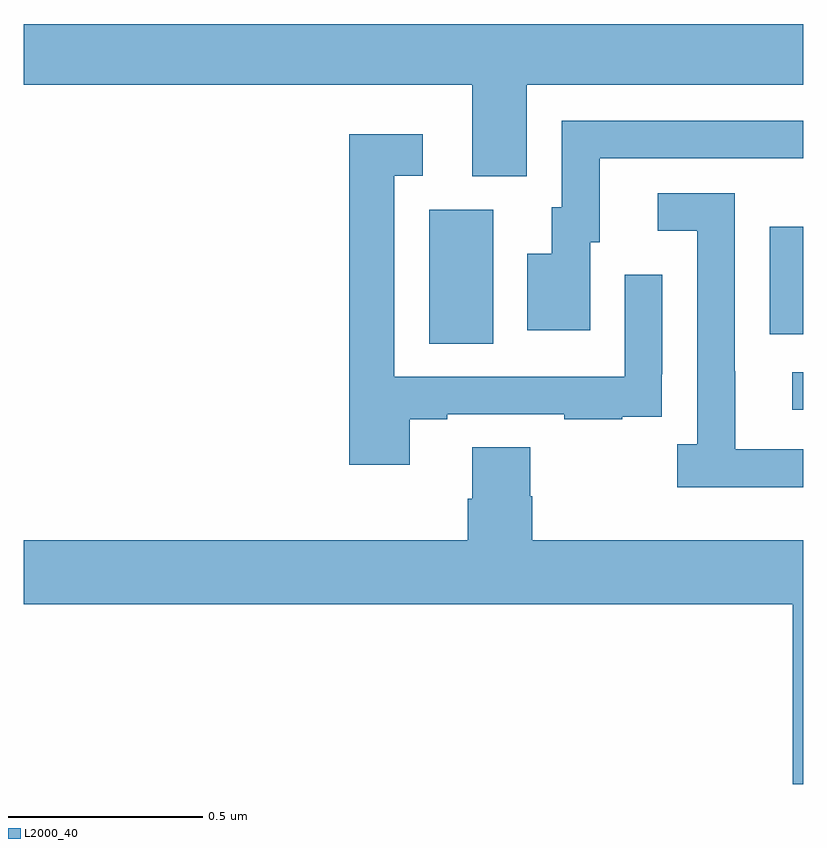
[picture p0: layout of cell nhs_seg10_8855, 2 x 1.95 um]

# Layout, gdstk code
import gdstk
lib = gdstk.Library(unit=1e-6, precision=1e-09)
def R(c, l, rs):  # rectangles x0, y0, x1, y1
    for r in rs: c.add(gdstk.rectangle(r[:2], r[2:], *l))
def P(c, l, *ps):  # polygons
    for p in ps: c.add(gdstk.Polygon(p, *l))
L2000_40 = (2000, 40)

nhs_seg10_8855 = lib.new_cell('nhs_seg10_8855')
R(nhs_seg10_8855, L2000_40, [(223.971,1271.511,224,1271.607), (223.04,1271.68,223.204,1272.024), (223.913,1271.705,224,1271.98)])
P(nhs_seg10_8855, L2000_40, [(223.291,1272.344),(224,1272.344),(224,1272.5),(222,1272.5),(222,1272.344),(223.151,1272.344),(223.151,1272.109),(223.291,1272.109)],
  [(223.453,1271.94),(223.477,1271.94),(223.477,1272.156),(224,1272.156),(224,1272.252),(223.38,1272.252),(223.38,1272.03),(223.355,1272.03),(223.355,1271.911),(223.292,1271.911),(223.292,1271.715),(223.453,1271.715)],
  [(222.991,1271.487),(223.087,1271.487),(223.087,1271.499),(223.387,1271.499),(223.387,1271.487),(223.535,1271.487),(223.535,1271.493),(223.637,1271.493),(223.637,1271.602),(223.638,1271.602),(223.638,1271.857),(223.542,1271.857),(223.542,1271.595),(222.951,1271.595),(222.951,1272.111),(223.024,1272.111),(223.024,1272.217),(222.835,1272.217),(222.835,1271.37),(222.991,1271.37)],
  [(224,1271.409),(223.825,1271.409),(223.825,1271.609),(223.824,1271.609),(223.824,1272.066),(223.626,1272.066),(223.626,1271.97),(223.728,1271.97),(223.728,1271.422),(223.677,1271.422),(223.677,1271.312),(224,1271.312)],
  [(224,1271.176),(223.304,1271.176),(223.304,1271.289),(223.299,1271.289),(223.299,1271.414),(223.151,1271.414),(223.151,1271.282),(223.139,1271.282),(223.139,1271.176),(222,1271.176),(222,1271.012),(223.973,1271.012),(223.973,1270.551),(224,1270.551)])

lib.write_gds('nhs_seg10_8855.gds')
